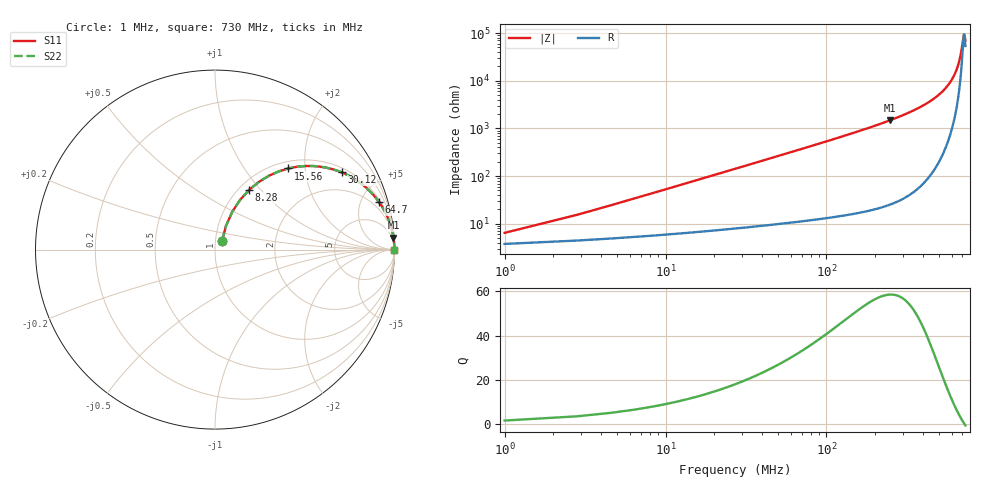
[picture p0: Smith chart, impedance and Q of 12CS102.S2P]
! Coilcraft 1206CS-102 Chip Inductor
! 29 July 2002
# MHZ S MA R 50
!Freq  MagS11  AngS11  MagS21  AngS21  MagS12  AngS12  MagS22  AngS22
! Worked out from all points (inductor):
!   402 points, 1 MHz to 730 MHz, reference 50 ohm
!   read as one part in series: L = 835 nH near 4.64 MHz
!   highest Q = 58.6 at 248.5 MHz (marker M1), where L = 949 nH
!   self-resonance near 716.3 MHz
!   S11 on the Smith chart (normalised r, x): 1 MHz: 1.08, +0.10; 8.28 MHz: 1.11, +0.87; 15.56 MHz: 1.13, +1.63; 30.12 MHz: 1.17, +3.17; 64.7 MHz: 1.22, +6.84; 730 MHz: open
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1  0.06228 51.3  0.9623 -2.9  0.9623 -2.9  0.06228 51.3
6.46  0.3101 63.2  0.9039 -17.8  0.9039 -17.8  0.3101 63.2
8.28  0.3835 60.2  0.8754 -22.4  0.8754 -22.4  0.3835 60.2
11.92  0.51 53.8  0.8112 -30.5  0.8112 -30.5  0.51 53.8
15.56  0.6098 47.9  0.7442 -37.4  0.7442 -37.4  0.6098 47.9
22.84  0.746 38.3  0.6207 -48.1  0.6207 -48.1  0.746 38.3
30.12  0.8266 31.4  0.5214 -55.6  0.5214 -55.6  0.8266 31.4
44.68  0.9074 22.6  0.3853 -65.1  0.3853 -65.1  0.9074 22.6
64.7  0.9518 16.1  0.278 -72.0  0.278 -72.0  0.9518 16.1
122.94  0.9857 8.5  0.1483 -80.2  0.1483 -80.2  0.9857 8.5
244.88  0.9965 3.9  0.06851 -85.1  0.06851 -85.1  0.9965 3.9
248.52  0.9966 3.9  0.06725 -85.2  0.06725 -85.2  0.9966 3.9
366.82  0.9985 2.2  0.03831 -86.6  0.03831 -86.6  0.9985 2.2
488.76  0.999 1.2  0.02088 -86.7  0.02088 -86.7  0.999 1.2
556.1  0.9991 0.8  0.01368 -85.8  0.01368 -85.8  0.9991 0.8
608.88  0.9991 0.5  0.008784 -83.8  0.008784 -83.8  0.9991 0.5
641.64  0.9991 0.3  0.006005 -80.8  0.006005 -80.8  0.9991 0.3
668.94  0.999 0.2  0.00384 -75.1  0.00384 -75.1  0.999 0.2
687.14  0.999 0.1  0.002501 -66.1  0.002501 -66.1  0.999 0.1
712.62  0.9989 0.0  0.001118 -18.6  0.001118 -18.6  0.9989 0.0
719.9  0.9989 -0.0  0.00109 9.6  0.00109 9.6  0.9989 -0.0
730  0.9989 -0.1  0.001431 40.0  0.001431 40.0  0.9989 -0.1
